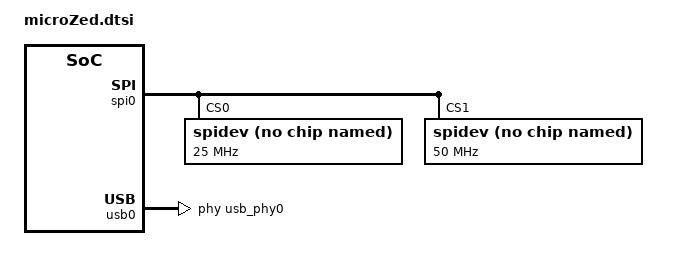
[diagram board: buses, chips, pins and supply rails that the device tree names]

/ {
	chosen {
		bootargs = "console=ttyPS0,115200 root=/dev/mmcblk0p2 rw earlyprintk rootfstype=ext4 rootwait devtmpfs.mount=1 uio_pdrv_genirq.of_id=\"generic-uio\"";
		linux,stdout-path = "/amba@0/serial@E0001000";
	};

	amba {

		fabric@40000000 {
			compatible = "generic-uio";
			reg = <0x40000000 0x10000>;
			interrupt-parent = <&intc>;
			interrupts = <0x0 0x1d 0x4>;
		};
		spi0: spi@e0006000 {
			spidev@0 {
			    compatible = "spidev";
			    reg = <0x0>;
			    spi-max-frequency = <25000000>;
			    #address-cells = <1>;
			    #size-cells = <1>; 
			    }; 
			spidev@1 {
			    compatible = "spidev";
			    reg = <0x1>;
			    spi-max-frequency = <50000000>;
			    #address-cells = <1>;
			    #size-cells = <1>; 
			    };
		};

	};


	xlnk {
		compatible = "xlnx,xlnk-1.0";
		clock-names = "xclk0", "xclk1", "xclk2", "xclk3";
		clocks = <&clkc 0xf &clkc 0x10 &clkc 0x11 &clkc 0x12>;
	};
	usb_phy0: phy0 {
		compatible = "ulpi-phy";
		#phy-cells = <0>;
		reg = <0xe0002000 0x1000>;
		view-port = <0x170>;
		drv-vbus;   
	};
};

&usb0 {
	usb-phy = <&usb_phy0>;
};
